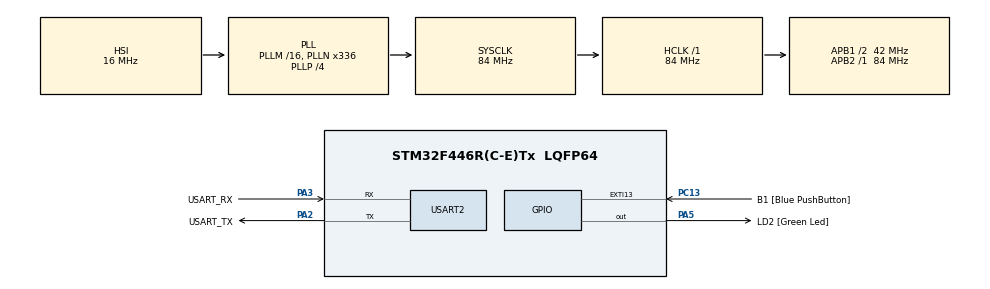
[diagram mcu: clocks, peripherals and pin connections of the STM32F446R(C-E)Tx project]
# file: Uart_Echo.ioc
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Mcu.Family=STM32F4
Mcu.Name=STM32F446R(C-E)Tx
Mcu.Package=LQFP64
NVIC.PriorityGroup=NVIC_PRIORITYGROUP_0
PA13.GPIO_Label=TMS
PA13.Mode=Serial_Wire
PA13.Signal=SYS_JTMS-SWDIO
PA14.GPIO_Label=TCK
PA14.Mode=Serial_Wire
PA14.Signal=SYS_JTCK-SWCLK
PA2.GPIO_Label=USART_TX
PA2.Mode=Asynchronous
PA2.Signal=USART2_TX
PA3.GPIO_Label=USART_RX
PA3.Mode=Asynchronous
PA3.Signal=USART2_RX
PA5.GPIO_Label=LD2 [Green Led]
PA5.Signal=GPIO_Output
PB3.GPIO_Label=SWO
PB3.Signal=SYS_JTDO-SWO
PC13.GPIO_Label=B1 [Blue PushButton]
PC13.GPIO_ModeDefaultEXTI=GPIO_MODE_IT_FALLING
PC13.Signal=GPXTI13
PC14-OSC32_IN.Mode=LSE-External-Oscillator
PC14-OSC32_IN.Signal=RCC_OSC32_IN
PC15-OSC32_OUT.Mode=LSE-External-Oscillator
PC15-OSC32_OUT.Signal=RCC_OSC32_OUT
PH0-OSC_IN.Mode=HSE-External-Oscillator
PH0-OSC_IN.Signal=RCC_OSC_IN
PH1-OSC_OUT.Mode=HSE-External-Oscillator
PH1-OSC_OUT.Signal=RCC_OSC_OUT
ProjectManager.HeapSize=0x200
ProjectManager.StackSize=0x400
ProjectManager.TargetToolchain=STM32CubeIDE
RCC.48MHZClocksFreq_Value=84000000
RCC.AHBFreq_Value=84000000
RCC.APB1CLKDivider=RCC_HCLK_DIV2
RCC.APB1Freq_Value=42000000
RCC.APB1TimFreq_Value=84000000
RCC.APB2Freq_Value=84000000
RCC.APB2TimFreq_Value=84000000
RCC.CortexFreq_Value=84000000
RCC.FLatency-AdvancedSettings=FLASH_LATENCY_2
RCC.HCLKFreq_Value=84000000
RCC.HSE_VALUE=8000000
RCC.HSI_VALUE=16000000
RCC.PLLN=336
RCC.PLLP=RCC_PLLP_DIV4
RCC.SYSCLKFreq_VALUE=84000000
RCC.SYSCLKSource=RCC_SYSCLKSOURCE_PLLCLK
RCC.USBFreq_Value=168000000
RCC.VCOOutputFreq_Value=336000000
USART2.VirtualMode=VM_ASYNC
board=NUCLEO-F446RE

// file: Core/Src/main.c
/* USER CODE BEGIN Header */
/**
  ******************************************************************************
  * @file           : main.c
  * @brief          : Main program body
  ******************************************************************************
  * @attention
  *
  * Copyright (c) 2025 STMicroelectronics.
  * All rights reserved.
  *
  * This software is licensed under terms that can be found in the LICENSE file
  * in the root directory of this software component.
  * If no LICENSE file comes with this software, it is provided AS-IS.
  *
  ******************************************************************************
  */
/* USER CODE END Header */
#include "main.h"

/* USER CODE BEGIN Includes */
#include <string.h>

/* USER CODE END Includes */

/* USER CODE BEGIN PD */
#define BUF_MAX    50

/* USER CODE END PD */

UART_HandleTypeDef huart2;

void SystemClock_Config(void);
static void MX_GPIO_Init(void);
static void MX_USART2_UART_Init(void);

int main(void)
{
  /* USER CODE BEGIN 1 */
  uint8_t rxBuffer[BUF_MAX];

  /* USER CODE END 1 */

  /* MCU Configuration--------------------------------------------------------*/

  /* Reset of all peripherals, Initializes the Flash interface and the Systick. */
  HAL_Init();

  /* Configure the system clock */
  SystemClock_Config();

  /* Initialize all configured peripherals */
  MX_GPIO_Init();
  MX_USART2_UART_Init();
  /* USER CODE BEGIN 2 */
  char msg[] = "Enter a phrase: ";
  char response[] = "You've entered: ";
  uint8_t returned_char;
  uint8_t index = 0;

  /* USER CODE END 2 */

  /* Infinite loop */
  /* USER CODE BEGIN WHILE */

  while(1)
  {
  HAL_Delay(500);
  HAL_UART_Transmit(&huart2, (uint8_t*)msg, strlen(msg), HAL_MAX_DELAY);
  index = 0;
  while (1)
  {

	HAL_UART_Receive(&huart2, &returned_char, 1, HAL_MAX_DELAY);

		if(returned_char == '\r')
		{
			rxBuffer[index] = '\0';

			break;
		}
		else if(index < BUF_MAX - 1)
		{
			rxBuffer[index++] = returned_char;
			HAL_UART_Transmit(&huart2, &returned_char, 1, HAL_MAX_DELAY);
		}
  }
  HAL_UART_Transmit(&huart2, (uint8_t*)"\r\n", 2, HAL_MAX_DELAY);
  HAL_UART_Transmit(&huart2, (uint8_t*)response, strlen(response), HAL_MAX_DELAY);
  HAL_UART_Transmit(&huart2, rxBuffer, index, HAL_MAX_DELAY);
  HAL_UART_Transmit(&huart2, (uint8_t*)"\r\n", 2, HAL_MAX_DELAY);
    /* USER CODE END WHILE */

  }

}

void SystemClock_Config(void)
{
  RCC_OscInitTypeDef RCC_OscInitStruct = {0};
  RCC_ClkInitTypeDef RCC_ClkInitStruct = {0};

  /** Configure the main internal regulator output voltage
  */
  __HAL_RCC_PWR_CLK_ENABLE();
  __HAL_PWR_VOLTAGESCALING_CONFIG(PWR_REGULATOR_VOLTAGE_SCALE3);

  /** Initializes the RCC Oscillators according to the specified parameters
  * in the RCC_OscInitTypeDef structure.
  */
  RCC_OscInitStruct.OscillatorType = RCC_OSCILLATORTYPE_HSI;
  RCC_OscInitStruct.HSIState = RCC_HSI_ON;
  RCC_OscInitStruct.HSICalibrationValue = RCC_HSICALIBRATION_DEFAULT;
  RCC_OscInitStruct.PLL.PLLState = RCC_PLL_ON;
  RCC_OscInitStruct.PLL.PLLSource = RCC_PLLSOURCE_HSI;
  RCC_OscInitStruct.PLL.PLLM = 16;
  RCC_OscInitStruct.PLL.PLLN = 336;
  RCC_OscInitStruct.PLL.PLLP = RCC_PLLP_DIV4;
  RCC_OscInitStruct.PLL.PLLQ = 2;
  RCC_OscInitStruct.PLL.PLLR = 2;
  if (HAL_RCC_OscConfig(&RCC_OscInitStruct) != HAL_OK)
  {
    Error_Handler();
  }

  /** Initializes the CPU, AHB and APB buses clocks
  */
  RCC_ClkInitStruct.ClockType = RCC_CLOCKTYPE_HCLK|RCC_CLOCKTYPE_SYSCLK
                              |RCC_CLOCKTYPE_PCLK1|RCC_CLOCKTYPE_PCLK2;
  RCC_ClkInitStruct.SYSCLKSource = RCC_SYSCLKSOURCE_PLLCLK;
  RCC_ClkInitStruct.AHBCLKDivider = RCC_SYSCLK_DIV1;
  RCC_ClkInitStruct.APB1CLKDivider = RCC_HCLK_DIV2;
  RCC_ClkInitStruct.APB2CLKDivider = RCC_HCLK_DIV1;

  if (HAL_RCC_ClockConfig(&RCC_ClkInitStruct, FLASH_LATENCY_2) != HAL_OK)
  {
    Error_Handler();
  }
}

static void MX_USART2_UART_Init(void)
{

  huart2.Instance = USART2;
  huart2.Init.BaudRate = 115200;
  huart2.Init.WordLength = UART_WORDLENGTH_8B;
  huart2.Init.StopBits = UART_STOPBITS_1;
  huart2.Init.Parity = UART_PARITY_NONE;
  huart2.Init.Mode = UART_MODE_TX_RX;
  huart2.Init.HwFlowCtl = UART_HWCONTROL_NONE;
  huart2.Init.OverSampling = UART_OVERSAMPLING_16;
  if (HAL_UART_Init(&huart2) != HAL_OK)
  {
    Error_Handler();
  }

}

static void MX_GPIO_Init(void)
{
  GPIO_InitTypeDef GPIO_InitStruct = {0};

  /* GPIO Ports Clock Enable */
  __HAL_RCC_GPIOC_CLK_ENABLE();
  __HAL_RCC_GPIOH_CLK_ENABLE();
  __HAL_RCC_GPIOA_CLK_ENABLE();
  __HAL_RCC_GPIOB_CLK_ENABLE();

  /*Configure GPIO pin Output Level */
  HAL_GPIO_WritePin(LD2_GPIO_Port, LD2_Pin, GPIO_PIN_RESET);

  /*Configure GPIO pin : B1_Pin */
  GPIO_InitStruct.Pin = B1_Pin;
  GPIO_InitStruct.Mode = GPIO_MODE_IT_FALLING;
  GPIO_InitStruct.Pull = GPIO_NOPULL;
  HAL_GPIO_Init(B1_GPIO_Port, &GPIO_InitStruct);

  /*Configure GPIO pin : LD2_Pin */
  GPIO_InitStruct.Pin = LD2_Pin;
  GPIO_InitStruct.Mode = GPIO_MODE_OUTPUT_PP;
  GPIO_InitStruct.Pull = GPIO_NOPULL;
  GPIO_InitStruct.Speed = GPIO_SPEED_FREQ_LOW;
  HAL_GPIO_Init(LD2_GPIO_Port, &GPIO_InitStruct);

}

void Error_Handler(void)
{
  __disable_irq();
  while (1)
  {
  }
}
